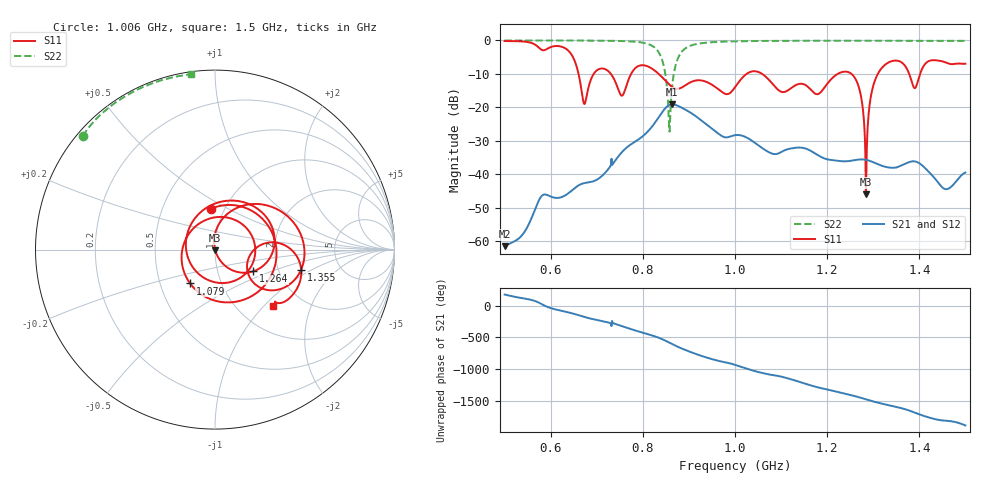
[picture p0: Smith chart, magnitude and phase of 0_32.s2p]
! TOUCHSTONE file generated by CST MICROWAVE STUDIO
! Date and time: Sat Oct 24 10:47:11 2020
! Project name: Scenario_1_Planar_Body_Tissue_Center.cst
! Parameters = {hfat=3; hmuscle=50; hskin=1.5; hgap=25; Wtissue=700; Ltissue=700; L_HA=400; MT=2.54; Rad_Dielectric=30; Rad_Lower=7.3; Rad_Upper=30; a_HA=580; a_WG=246; b_HA=500; b_WG=121; c_HA=0; c_WG=187; d_feed=85; dx1=709.92; h_feed=15; h_lower=18; h_upper=40}
! Header version: 2018
! Port assignment regex: !\s*Touchstone port\s*([0-9]+)\s*=\s*(CST MWS port|CST DS port)\s*([0-9]+|Zmin|Zmax)\s*\(\"(.*)\"\)(\s*mode\s*([0-9]+))?.*
! Touchstone port assignment:
! Touchstone port 1 = CST MWS port 1 ("")
! Touchstone port 2 = CST MWS port 2 ("")
# GHz S DB R 50
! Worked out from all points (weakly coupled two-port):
!   1003 points, 500 MHz to 1.5 GHz, reference 50 ohm
!   highest |S21| = -19.12 dB at 864 MHz (marker M1); lowest = -61.6 dB at 500 MHz (marker M2)
!   lowest |S11| = -46.1 dB at 1.284 GHz (marker M3), VSWR 1.01, Z = 50.2 - j0.459 ohm
!   |S11| at or under -10 dB: 834.2 MHz to 1.025 GHz (191.1 MHz wide, 20.6 % of centre); 1.059 GHz to 1.223 GHz (164.4 MHz wide, 14.4 % of centre); 1.253 GHz to 1.31 GHz (57.39 MHz wide, 4.48 % of centre) (the widest 3 of 6)
!   |S22| runs from -27.3 to 0.0 dB; largest |S21 - S12| = 0.012
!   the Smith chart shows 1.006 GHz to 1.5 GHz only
!   S11 on the Smith chart (normalised r, x): 1.006 GHz: 0.86, +0.41; 1.079 GHz: 0.71, -0.28; 1.264 GHz: 1.48, -0.38; 1.355 GHz: 2.67, -0.79; 1.5 GHz: 1.43, -1.12
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0.5  -0.18 -121.5  -61.57 178.9  -61.57 178.9  -0.01 151.1
0.617  -1.70 175.2  -47.11 -67.8  -47.12 -67.8  -0.02 142.8
0.667  -15.02 111.0  -42.94 -162.6  -42.94 -162.6  -0.04 138.4
0.751  -16.08 4.0  -34.01 48.6  -34.02 48.7  -0.17 127.3
0.789  -7.76 164.5  -29.78 -41.7  -29.78 -41.7  -0.46 117.2
0.834  -9.98 38.2  -23.07 -143.1  -23.07 -143.1  -3.46 83.5
0.856  -13.02 -35.8  -19.43 143.2  -19.43 143.2  -22.37 13.2
0.864  -13.95 -68.7  -19.12 113.1  -19.12 113.1  -13.19 -138.4
0.899  -12.85 136.5  -21.24 2.4  -21.24 2.4  -1.83 168.9
0.937  -12.35 9.5  -25.05 -94.7  -25.05 -94.7  -0.69 152.0
1  -14.02 120.0  -28.35 147.1  -28.35 147.1  -0.27 140.1
1.006  -12.86 96.3  -28.30 132.9  -28.30 132.9  -0.25 139.4
1.039  -9.24 -9.0  -30.23 56.2  -30.23 56.3  -0.18 135.5
1.079  -12.61 -126.4  -33.79 -11.8  -33.79 -11.8  -0.13 131.6
1.167  -15.10 -99.6  -33.25 175.8  -33.25 175.8  -0.09 124.1
1.214  -10.91 73.6  -35.85 93.4  -35.86 93.4  -0.09 120.5
1.264  -12.22 -29.6  -35.72 4.5  -35.73 4.5  -0.08 116.8
1.284  -46.10 -67.2  -35.73 -38.4  -35.73 -38.4  -0.08 115.3
1.301  -13.11 69.1  -36.51 -74.3  -36.51 -74.3  -0.08 114.0
1.334  -6.53 16.1  -38.03 -133.0  -38.02 -133.0  -0.09 111.5
1.355  -6.15 -13.2  -37.78 -167.3  -37.78 -167.3  -0.09 109.9
1.5  -6.97 -44.4  -39.52 -92.3  -39.52 -92.3  -0.13 97.9
